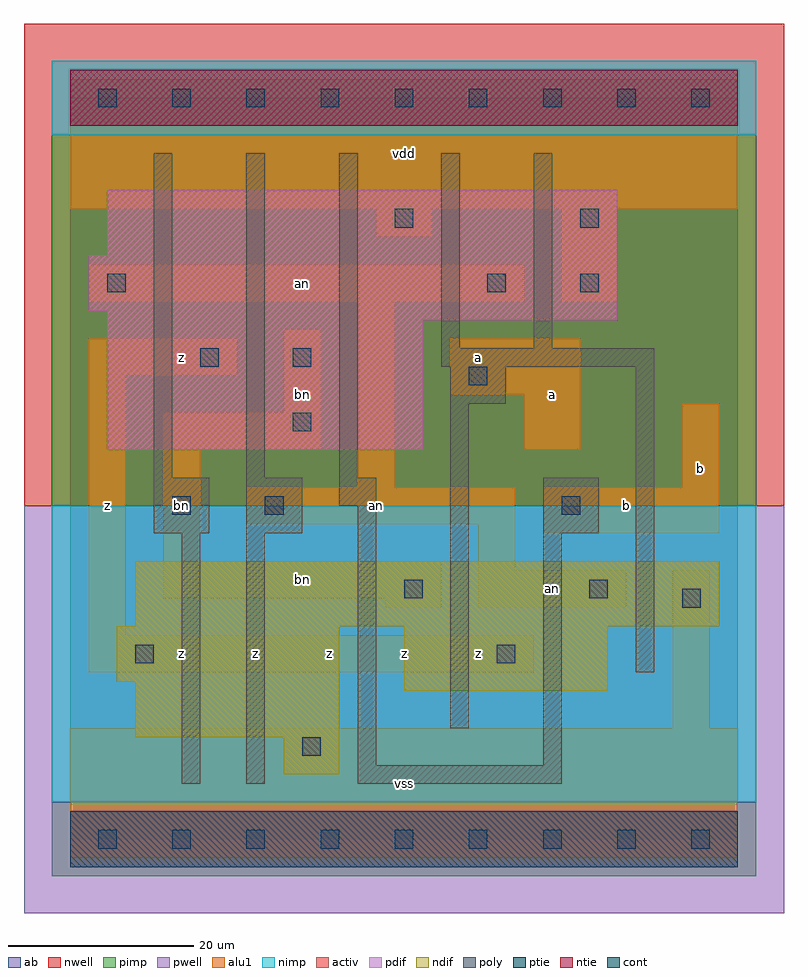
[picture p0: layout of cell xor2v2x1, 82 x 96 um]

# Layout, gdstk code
import gdstk
lib = gdstk.Library(unit=1e-6, precision=1e-09)
def R(c, l, rs):  # rectangles x0, y0, x1, y1
    for r in rs: c.add(gdstk.rectangle(r[:2], r[2:], *l))
def A(c, l, x, y, w, h, nx, ny, dx, dy):  # array of equal rectangles
    R(c, l, [(x+i*dx, y+j*dy, x+i*dx+w, y+j*dy+h) for i in range(nx) for j in range(ny)])
ndif = (3, 0)
pdif = (4, 0)
ntie = (5, 0)
ptie = (6, 0)
cont = (25, 0)
pwell = (41, 0)
nwell = (42, 0)
activ = (43, 0)
pimp = (44, 0)
nimp = (45, 0)
poly = (46, 0)
alu1 = (49, 0)
ab = (63, 0)

xor2v2x1 = lib.new_cell('xor2v2x1')
R(xor2v2x1, ndif, [(23,7,29,11), (7,11,29,17), (36,16,58,23), (5,17,29,23), (7,23,70,30)])
R(xor2v2x1, pdif, [(4,42,38,56), (4,56,59,57), (2,57,59,63), (4,63,59,70)])
R(xor2v2x1, ntie, [(0,77,72,83)])
R(xor2v2x1, ptie, [(0,-3,72,3)])
A(xor2v2x1, cont, 3, -1, 2, 2, 9, 2, 8, 80)
R(xor2v2x1, cont, [(25,9,27,11), (7,19,9,21), (46,19,48,21), (66,25,68,27), (36,26,38,28), (56,26,58,28), (11,35,13,37), (21,35,23,37), (53,35,55,37), (24,44,26,46), (43,49,45,51), (14,51,16,53), (24,51,26,53), (4,59,6,61), (45,59,47,61), (55,59,57,61), (35,66,37,68), (55,66,57,68)])
R(xor2v2x1, pwell, [(-5,-8,77,36)])
R(xor2v2x1, nwell, [(-5,36,77,88)])
R(xor2v2x1, activ, [(0,-3,72,3), (23,7,29,11), (7,11,29,17), (36,16,58,23), (5,17,29,23), (7,23,70,30), (4,42,38,56), (4,56,59,57), (2,57,59,63), (4,63,59,70), (0,77,72,83)])
R(xor2v2x1, pimp, [(-2,-4,74,4), (-2,36,74,76)])
R(xor2v2x1, nimp, [(-2,4,74,36), (-2,76,74,84)])
A(xor2v2x1, poly, 9, 39, 2, 35, 3, 1, 10, 0)
R(xor2v2x1, poly, [(12,6,14,33), (19,6,21,33), (31,6,53,8), (31,8,33,36), (51,8,53,33), (41,12,43,47), (61,18,63,51), (9,33,15,39), (19,33,25,39), (51,33,57,39), (29,36,33,39), (41,47,47,51), (40,51,63,53), (40,53,42,74), (50,53,52,74)])
R(xor2v2x1, alu1, [(0,-2,72,12), (65,12,69,29), (2,18,50,22), (2,22,6,50), (34,25,40,26), (44,25,60,29), (10,26,40,30), (44,29,48,34), (10,30,14,42), (51,33,70,38), (19,34,48,38), (31,38,35,58), (66,38,70,47), (10,42,27,46), (49,42,55,48), (23,46,27,55), (41,48,55,54), (2,50,18,54), (2,58,49,62), (53,58,59,68), (33,65,39,68), (0,68,72,82)])
R(xor2v2x1, ab, [(0,0,72,80)])
xor2v2x1.add(gdstk.Label('bn', (12,36), layer=49, texttype=0))
xor2v2x1.add(gdstk.Label('bn', (25,48), layer=49, texttype=0))
xor2v2x1.add(gdstk.Label('an', (33,36), layer=49, texttype=0))
xor2v2x1.add(gdstk.Label('bn', (25,28), layer=49, texttype=0))
xor2v2x1.add(gdstk.Label('an', (25,60), layer=49, texttype=0))
xor2v2x1.add(gdstk.Label('an', (52,27), layer=49, texttype=0))
xor2v2x1.add(gdstk.Label('z', (12,20), layer=49, texttype=0))
xor2v2x1.add(gdstk.Label('z', (4,36), layer=49, texttype=0))
xor2v2x1.add(gdstk.Label('z', (12,52), layer=49, texttype=0))
xor2v2x1.add(gdstk.Label('z', (28,20), layer=49, texttype=0))
xor2v2x1.add(gdstk.Label('z', (20,20), layer=49, texttype=0))
xor2v2x1.add(gdstk.Label('vss', (36,6), layer=49, texttype=0))
xor2v2x1.add(gdstk.Label('z', (44,20), layer=49, texttype=0))
xor2v2x1.add(gdstk.Label('z', (36,20), layer=49, texttype=0))
xor2v2x1.add(gdstk.Label('a', (44,52), layer=49, texttype=0))
xor2v2x1.add(gdstk.Label('a', (52,48), layer=49, texttype=0))
xor2v2x1.add(gdstk.Label('vdd', (36,74), layer=49, texttype=0))
xor2v2x1.add(gdstk.Label('b', (60,36), layer=49, texttype=0))
xor2v2x1.add(gdstk.Label('b', (68,40), layer=49, texttype=0))

lib.write_gds('xor2v2x1.gds')
